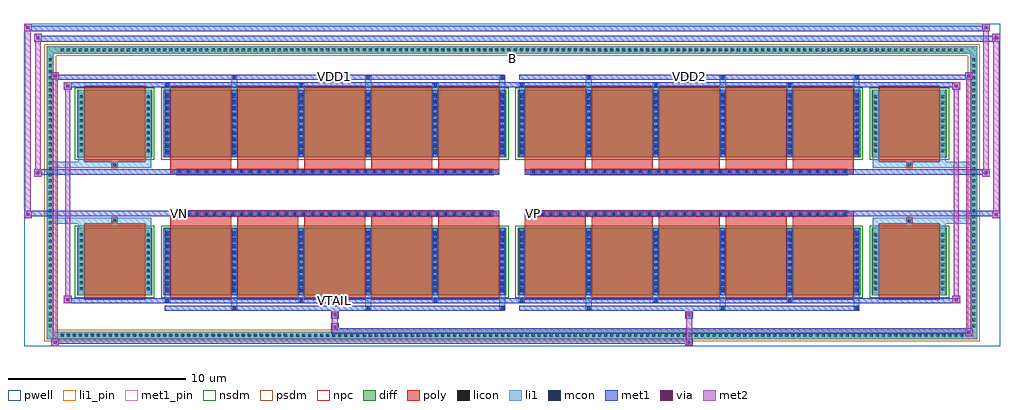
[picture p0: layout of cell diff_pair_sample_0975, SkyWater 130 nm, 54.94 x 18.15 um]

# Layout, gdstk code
import gdstk
lib = gdstk.Library(unit=1e-6, precision=5e-09)
def R(c, l, rs):  # rectangles x0, y0, x1, y1
    for r in rs: c.add(gdstk.rectangle(r[:2], r[2:], *l))
def A(c, l, x, y, w, h, nx, ny, dx, dy):  # array of equal rectangles
    R(c, l, [(x+i*dx, y+j*dy, x+i*dx+w, y+j*dy+h) for i in range(nx) for j in range(ny)])
def P(c, l, *ps):  # polygons
    for p in ps: c.add(gdstk.Polygon(p, *l))
pwell = (64, 44)
diff = (65, 20)
poly = (66, 20)
licon = (66, 44)
li1_pin = (67, 16)
li1 = (67, 20)
mcon = (67, 44)
met1_pin = (68, 16)
met1 = (68, 20)
via = (68, 44)
met2 = (69, 20)
nsdm = (93, 44)
psdm = (94, 20)
npc = (95, 20)

diff_pair_sample_0975 = lib.new_cell('diff_pair_sample_0975')
R(diff_pair_sample_0975, pwell, [(-27.47,-8.64,27.47,9.51), (-24.79,-6.83,-0.01,-0.805), (0.01,-6.83,24.79,-0.805), (-24.79,0.805,-0.01,6.83), (0.01,0.805,24.79,6.83)])
A(diff_pair_sample_0975, diff, -25.535, -8.24, 0.41, 0.41, 150, 2, 0.34, 16.07)
A(diff_pair_sample_0975, diff, -26.2, -7.685, 0.41, 0.41, 1, 45, 0, 0.34)
A(diff_pair_sample_0975, diff, 25.79, -7.685, 0.41, 0.41, 1, 45, 0, 0.34)
R(diff_pair_sample_0975, diff, [(-25.535,-8.24,25.535,-7.83), (-26.2,-7.685,-25.79,7.685), (25.79,-7.685,26.2,7.685), (-24.48,-5.785,-20.26,-1.985), (-19.62,-5.785,-0.32,-1.985), (0.32,-5.785,19.62,-1.985), (20.26,-5.785,24.48,-1.985), (-24.48,1.985,-20.26,5.785), (-19.62,1.985,-0.32,5.785), (0.32,1.985,19.62,5.785), (20.26,1.985,24.48,5.785), (-25.535,7.83,25.535,8.24)])
P(diff_pair_sample_0975, diff, [(26.2,8.24),(-26.2,8.24),(-26.2,-7.83),(-25.79,-7.83),(-25.79,7.83),(25.79,7.83),(25.79,-7.83),(-25.79,-7.83),(-26.2,-7.83),(-26.2,-8.24),(26.2,-8.24)])
A(diff_pair_sample_0975, poly, -19.23, -6.035, 3.44, 4.3, 5, 2, 3.77, 7.77)
A(diff_pair_sample_0975, poly, 0.71, -6.035, 3.44, 4.3, 5, 2, 3.77, 7.77)
A(diff_pair_sample_0975, poly, -19.23, -1.735, 3.44, 0.4, 5, 2, 3.77, 3.07)
A(diff_pair_sample_0975, poly, 0.71, -1.735, 3.44, 0.4, 5, 2, 3.77, 3.07)
A(diff_pair_sample_0975, poly, -18.885, -1.335, 0.33, 0.33, 36, 2, 0.5, 2.34)
A(diff_pair_sample_0975, poly, 1.055, -1.335, 0.33, 0.33, 36, 2, 0.5, 2.34)
R(diff_pair_sample_0975, poly, [(-24.09,-6.035,-20.65,-1.735), (20.65,-6.035,24.09,-1.735), (-22.535,-1.735,-22.205,-1.405), (-22.535,-1.735,-22.205,-1.405), (22.205,-1.735,22.535,-1.405), (22.205,-1.735,22.535,-1.405), (-19.23,-1.335,-0.71,-1.005), (0.71,-1.335,19.23,-1.005), (-19.23,1.005,-0.71,1.335), (0.71,1.005,19.23,1.335), (-22.535,1.405,-22.205,1.735), (-22.535,1.405,-22.205,1.735), (22.205,1.405,22.535,1.735), (22.205,1.405,22.535,1.735), (-24.09,1.735,-20.65,6.035), (20.65,1.735,24.09,6.035)])
A(diff_pair_sample_0975, licon, -25.415, -8.12, 0.17, 0.17, 150, 2, 0.34, 16.07)
A(diff_pair_sample_0975, licon, -26.08, -7.565, 0.17, 0.17, 1, 45, 0, 0.34)
A(diff_pair_sample_0975, licon, 25.91, -7.565, 0.17, 0.17, 1, 45, 0, 0.34)
A(diff_pair_sample_0975, licon, -24.34, -5.5, 0.17, 0.17, 1, 10, 0, 0.34)
A(diff_pair_sample_0975, licon, -20.57, -5.5, 0.17, 0.17, 1, 10, 0, 0.34)
A(diff_pair_sample_0975, licon, -19.48, -5.5, 0.17, 0.17, 6, 10, 3.77, 0.34)
A(diff_pair_sample_0975, licon, 0.46, -5.5, 0.17, 0.17, 6, 10, 3.77, 0.34)
A(diff_pair_sample_0975, licon, 20.4, -5.5, 0.17, 0.17, 1, 10, 0, 0.34)
A(diff_pair_sample_0975, licon, 24.17, -5.5, 0.17, 0.17, 1, 10, 0, 0.34)
A(diff_pair_sample_0975, licon, -18.805, -1.255, 0.17, 0.17, 36, 2, 0.5, 2.34)
A(diff_pair_sample_0975, licon, 1.135, -1.255, 0.17, 0.17, 36, 2, 0.5, 2.34)
A(diff_pair_sample_0975, licon, -24.34, 2.27, 0.17, 0.17, 1, 10, 0, 0.34)
A(diff_pair_sample_0975, licon, -20.57, 2.27, 0.17, 0.17, 1, 10, 0, 0.34)
A(diff_pair_sample_0975, licon, -19.48, 2.27, 0.17, 0.17, 6, 10, 3.77, 0.34)
A(diff_pair_sample_0975, licon, 0.46, 2.27, 0.17, 0.17, 6, 10, 3.77, 0.34)
A(diff_pair_sample_0975, licon, 20.4, 2.27, 0.17, 0.17, 1, 10, 0, 0.34)
A(diff_pair_sample_0975, licon, 24.17, 2.27, 0.17, 0.17, 1, 10, 0, 0.34)
R(diff_pair_sample_0975, licon, [(-22.455,-1.655,-22.285,-1.485), (22.285,-1.655,22.455,-1.485), (-22.455,1.485,-22.285,1.655), (22.285,1.485,22.455,1.655)])
R(diff_pair_sample_0975, li1_pin, [(-0.25,7.33,0.25,7.83)])
A(diff_pair_sample_0975, li1, -25.495, -8.2, 0.33, 0.33, 150, 2, 0.34, 16.07)
A(diff_pair_sample_0975, li1, -26.16, -7.645, 0.33, 0.33, 1, 45, 0, 0.34)
A(diff_pair_sample_0975, li1, 25.83, -7.645, 0.33, 0.33, 1, 45, 0, 0.34)
A(diff_pair_sample_0975, li1, -15.79, -6.59, 0.33, 0.805, 3, 2, 7.54, 12.375)
A(diff_pair_sample_0975, li1, -15.71, -6.59, 0.17, 0.17, 3, 2, 7.54, 13.01)
A(diff_pair_sample_0975, li1, 4.15, -6.59, 0.33, 0.805, 3, 2, 7.54, 12.375)
A(diff_pair_sample_0975, li1, 4.23, -6.59, 0.17, 0.17, 3, 2, 7.54, 13.01)
A(diff_pair_sample_0975, li1, -19.56, -6.16, 0.33, 0.375, 3, 2, 7.54, 11.945)
A(diff_pair_sample_0975, li1, -19.48, -6.16, 0.17, 0.17, 3, 2, 7.54, 12.15)
A(diff_pair_sample_0975, li1, 0.38, -6.16, 0.33, 0.375, 3, 2, 7.54, 11.945)
A(diff_pair_sample_0975, li1, 0.46, -6.16, 0.17, 0.17, 3, 2, 7.54, 12.15)
A(diff_pair_sample_0975, li1, -19.56, -5.785, 0.33, 3.8, 6, 2, 3.77, 7.77)
A(diff_pair_sample_0975, li1, 0.38, -5.785, 0.33, 3.8, 6, 2, 3.77, 7.77)
A(diff_pair_sample_0975, li1, -19.48, -5.59, 0.17, 0.17, 6, 10, 3.77, 0.36)
A(diff_pair_sample_0975, li1, -19.48, -5.59, 0.17, 3.41, 6, 2, 3.77, 7.77)
A(diff_pair_sample_0975, li1, 0.46, -5.59, 0.17, 0.17, 6, 10, 3.77, 0.36)
A(diff_pair_sample_0975, li1, 0.46, -5.59, 0.17, 3.41, 6, 2, 3.77, 7.77)
A(diff_pair_sample_0975, li1, -24.42, -5.58, 0.33, 0.33, 1, 10, 0, 0.34)
A(diff_pair_sample_0975, li1, -20.65, -5.58, 0.33, 0.33, 1, 10, 0, 0.34)
A(diff_pair_sample_0975, li1, -19.56, -5.58, 0.33, 0.33, 6, 10, 3.77, 0.34)
A(diff_pair_sample_0975, li1, 0.38, -5.58, 0.33, 0.33, 6, 10, 3.77, 0.34)
A(diff_pair_sample_0975, li1, 20.32, -5.58, 0.33, 0.33, 1, 10, 0, 0.34)
A(diff_pair_sample_0975, li1, 24.09, -5.58, 0.33, 0.33, 1, 10, 0, 0.34)
A(diff_pair_sample_0975, li1, -18.885, -1.335, 0.33, 0.33, 36, 2, 0.5, 2.34)
A(diff_pair_sample_0975, li1, 1.055, -1.335, 0.33, 0.33, 36, 2, 0.5, 2.34)
A(diff_pair_sample_0975, li1, -19.48, 2.18, 0.17, 0.17, 6, 10, 3.77, 0.36)
A(diff_pair_sample_0975, li1, 0.46, 2.18, 0.17, 0.17, 6, 10, 3.77, 0.36)
A(diff_pair_sample_0975, li1, -24.42, 2.19, 0.33, 0.33, 1, 10, 0, 0.34)
A(diff_pair_sample_0975, li1, -20.65, 2.19, 0.33, 0.33, 1, 10, 0, 0.34)
A(diff_pair_sample_0975, li1, -19.56, 2.19, 0.33, 0.33, 6, 10, 3.77, 0.34)
A(diff_pair_sample_0975, li1, 0.38, 2.19, 0.33, 0.33, 6, 10, 3.77, 0.34)
A(diff_pair_sample_0975, li1, 20.32, 2.19, 0.33, 0.33, 1, 10, 0, 0.34)
A(diff_pair_sample_0975, li1, 24.09, 2.19, 0.33, 0.33, 1, 10, 0, 0.34)
R(diff_pair_sample_0975, li1, [(-26.2,-8.24,-25.79,-7.83), (-26.2,-8.24,-25.79,-7.83), (-25.79,-8.24,25.79,-7.83), (25.79,-8.24,26.2,-7.83), (25.79,-8.24,26.2,-7.83), (-26.2,-7.83,-25.79,7.83), (25.79,-7.83,26.2,7.83), (-24.42,-5.785,-24.09,-1.985), (-20.65,-5.785,-20.32,-1.985), (20.32,-5.785,20.65,-1.985), (24.09,-5.785,24.42,-1.985), (-24.42,-1.985,-24.09,-1.405), (-20.65,-1.985,-20.32,-1.405), (20.32,-1.985,20.65,-1.405), (24.09,-1.985,24.42,-1.405), (-26.2,-1.735,-22.535,-1.405), (-24.42,-1.735,-22.535,-1.405), (-22.535,-1.735,-22.205,-1.405), (-22.205,-1.735,-20.32,-1.405), (20.32,-1.735,22.205,-1.405), (22.205,-1.735,22.535,-1.405), (22.205,-1.735,26.2,-1.405), (22.535,-1.735,24.42,-1.405), (-26.2,1.405,-22.535,1.735), (-24.42,1.405,-22.535,1.735), (-24.42,1.405,-24.09,1.985), (-22.535,1.405,-22.205,1.735), (-22.205,1.405,-20.32,1.735), (-20.65,1.405,-20.32,1.985), (20.32,1.405,22.205,1.735), (20.32,1.405,20.65,1.985), (22.205,1.405,22.535,1.735), (22.205,1.405,26.2,1.735), (22.535,1.405,24.42,1.735), (24.09,1.405,24.42,1.985), (-24.42,1.985,-24.09,5.785), (-20.65,1.985,-20.32,5.785), (20.32,1.985,20.65,5.785), (24.09,1.985,24.42,5.785), (-26.2,7.83,-25.79,8.24), (-26.2,7.83,-25.79,8.24), (-25.79,7.83,25.79,8.24), (25.79,7.83,26.2,8.24), (25.79,7.83,26.2,8.24)])
A(diff_pair_sample_0975, mcon, -15.71, -6.59, 0.17, 0.17, 3, 2, 7.54, 13.01)
A(diff_pair_sample_0975, mcon, 4.23, -6.59, 0.17, 0.17, 3, 2, 7.54, 13.01)
A(diff_pair_sample_0975, mcon, -19.48, -6.16, 0.17, 0.17, 3, 2, 7.54, 12.15)
A(diff_pair_sample_0975, mcon, 0.46, -6.16, 0.17, 0.17, 3, 2, 7.54, 12.15)
A(diff_pair_sample_0975, mcon, -19.48, -5.59, 0.17, 0.17, 6, 10, 3.77, 0.36)
A(diff_pair_sample_0975, mcon, 0.46, -5.59, 0.17, 0.17, 6, 10, 3.77, 0.36)
A(diff_pair_sample_0975, mcon, -18.805, -1.255, 0.17, 0.17, 36, 2, 0.5, 2.34)
A(diff_pair_sample_0975, mcon, 1.135, -1.255, 0.17, 0.17, 36, 2, 0.5, 2.34)
A(diff_pair_sample_0975, mcon, -19.48, 2.18, 0.17, 0.17, 6, 10, 3.77, 0.36)
A(diff_pair_sample_0975, mcon, 0.46, 2.18, 0.17, 0.17, 6, 10, 3.77, 0.36)
R(diff_pair_sample_0975, met1_pin, [(-10.105,-6.2,-9.835,-5.93), (-18.855,-1.295,-18.585,-1.025), (1.085,-1.295,1.355,-1.025), (-10.105,6.38,-9.835,6.65), (9.835,6.38,10.105,6.65)])
A(diff_pair_sample_0975, met1, -15.77, -6.65, 0.29, 0.29, 3, 2, 7.54, 13.01)
A(diff_pair_sample_0975, met1, 4.17, -6.65, 0.29, 0.29, 3, 2, 7.54, 13.01)
A(diff_pair_sample_0975, met1, -19.54, -6.22, 0.29, 0.29, 3, 2, 7.54, 12.15)
A(diff_pair_sample_0975, met1, 0.4, -6.22, 0.29, 0.29, 3, 2, 7.54, 12.15)
A(diff_pair_sample_0975, met1, -19.54, -5.785, 0.29, 3.8, 6, 2, 3.77, 7.77)
A(diff_pair_sample_0975, met1, 0.4, -5.785, 0.29, 3.8, 6, 2, 3.77, 7.77)
A(diff_pair_sample_0975, met1, -19.54, -5.65, 0.29, 0.29, 6, 10, 3.77, 0.36)
A(diff_pair_sample_0975, met1, 0.4, -5.65, 0.29, 0.29, 6, 10, 3.77, 0.36)
A(diff_pair_sample_0975, met1, -18.865, -1.315, 0.29, 0.29, 36, 2, 0.5, 2.34)
A(diff_pair_sample_0975, met1, 1.075, -1.315, 0.29, 0.29, 36, 2, 0.5, 2.34)
A(diff_pair_sample_0975, met1, -19.54, 2.12, 0.29, 0.29, 6, 10, 3.77, 0.36)
A(diff_pair_sample_0975, met1, 0.4, 2.12, 0.29, 0.29, 6, 10, 3.77, 0.36)
R(diff_pair_sample_0975, met1, [(-25.93,-8.64,-25.5,-8.21), (9.755,-8.64,10.185,-8.21), (-25.93,-8.5,10.185,-8.21), (25.5,-8.07,25.93,-7.64), (-10.185,-7.93,25.93,-7.64), (-10.185,-7.79,-9.755,-7.36), (-10.185,-7.08,-9.755,-6.65), (9.755,-7.08,10.185,-6.65), (-19.54,-6.65,-0.4,-6.36), (0.4,-6.65,19.54,-6.36), (-25.22,-6.22,-24.79,-5.79), (-25.22,-6.22,-19.54,-5.93), (-19.54,-6.22,-0.4,-5.93), (-0.4,-6.22,0.4,-5.93), (0.4,-6.22,19.54,-5.93), (19.54,-6.22,25.22,-5.93), (24.79,-6.22,25.22,-5.79), (-27.47,-1.435,-27.04,-1.005), (27.04,-1.435,27.47,-1.005), (-27.47,-1.335,-0.71,-1.005), (-19.23,-1.335,-0.71,-1.005), (0.71,-1.335,19.23,-1.005), (0.71,-1.335,27.47,-1.005), (-26.9,0.905,-26.47,1.335), (26.47,0.905,26.9,1.335), (-26.9,1.005,-19.23,1.335), (-19.23,1.005,-0.71,1.335), (0.71,1.005,19.23,1.335), (19.23,1.005,26.9,1.335), (-25.22,5.79,-24.79,6.22), (24.79,5.79,25.22,6.22), (-25.22,5.93,-19.54,6.22), (-19.54,5.93,-0.4,6.22), (-0.4,5.93,0.4,6.22), (0.4,5.93,19.54,6.22), (19.54,5.93,25.22,6.22), (-25.93,6.36,-25.5,6.79), (-25.93,6.36,-19.54,6.65), (-19.54,6.36,-0.4,6.65), (0.4,6.36,19.54,6.65), (19.54,6.36,25.93,6.65), (25.5,6.36,25.93,6.79), (-26.9,8.51,-26.47,8.94), (-26.9,8.51,-24.79,8.84), (-24.79,8.51,24.79,8.84), (24.79,8.51,27.47,8.84), (27.04,8.51,27.47,8.94), (-27.47,9.08,-27.04,9.51), (-27.47,9.08,-24.79,9.41), (-24.79,9.08,24.79,9.41), (24.79,9.08,26.9,9.41), (26.47,9.08,26.9,9.51)])
R(diff_pair_sample_0975, via, [(-25.79,-8.5,-25.64,-8.35), (9.895,-8.5,10.045,-8.35), (25.64,-7.93,25.79,-7.78), (-10.045,-7.65,-9.895,-7.5), (-10.045,-6.94,-9.895,-6.79), (9.895,-6.94,10.045,-6.79), (-25.08,-6.08,-24.93,-5.93), (24.93,-6.08,25.08,-5.93), (-27.33,-1.295,-27.18,-1.145), (27.18,-1.295,27.33,-1.145), (-26.76,1.045,-26.61,1.195), (26.61,1.045,26.76,1.195), (-25.08,5.93,-24.93,6.08), (24.93,5.93,25.08,6.08), (-25.79,6.5,-25.64,6.65), (25.64,6.5,25.79,6.65), (-26.76,8.65,-26.61,8.8), (27.18,8.65,27.33,8.8), (-27.33,9.22,-27.18,9.37), (26.61,9.22,26.76,9.37)])
R(diff_pair_sample_0975, met2, [(-25.93,-8.64,-25.5,-8.21), (-25.86,-8.64,-25.57,6.79), (-25.57,-8.64,-25.5,-8.21), (-25.88,-8.59,-25.55,-8.26), (9.805,-8.59,10.135,-8.26), (9.805,-8.26,10.135,-7.03), (25.5,-8.07,25.93,-7.64), (25.57,-8.07,25.86,6.79), (25.86,-8.07,25.93,-7.64), (25.55,-8.02,25.88,-7.69), (-10.135,-7.74,-9.805,-7.41), (-10.135,-7.41,-9.805,-7.03), (-10.135,-7.03,-9.805,-6.7), (9.805,-7.03,10.135,-6.7), (-25.22,-6.22,-24.79,-5.79), (-25.15,-6.22,-24.86,6.22), (-24.86,-6.22,-24.79,-5.79), (24.79,-6.22,25.22,-5.79), (24.86,-6.22,25.15,6.22), (25.15,-6.22,25.22,-5.79), (-25.17,-6.17,-24.84,-5.84), (24.84,-6.17,25.17,-5.84), (-27.47,-1.435,-27.04,-1.005), (-27.42,-1.435,-27.09,9.51), (-27.09,-1.435,-27.04,-1.005), (27.04,-1.435,27.47,-1.005), (27.09,-1.435,27.42,8.94), (27.42,-1.435,27.47,-1.005), (-27.42,-1.385,-27.09,-1.055), (27.09,-1.385,27.42,-1.055), (-26.9,0.905,-26.47,1.335), (-26.85,0.905,-26.52,8.94), (-26.52,0.905,-26.47,1.335), (26.47,0.905,26.9,1.335), (26.52,0.905,26.85,9.51), (26.85,0.905,26.9,1.335), (-26.85,0.955,-26.52,1.285), (26.52,0.955,26.85,1.285), (-25.22,5.79,-24.79,6.22), (-24.86,5.79,-24.79,6.22), (24.79,5.79,25.22,6.22), (25.15,5.79,25.22,6.22), (-25.17,5.84,-24.84,6.17), (24.84,5.84,25.17,6.17), (-25.93,6.36,-25.5,6.79), (-25.57,6.36,-25.5,6.79), (25.5,6.36,25.93,6.79), (25.86,6.36,25.93,6.79), (-25.88,6.41,-25.55,6.74), (25.55,6.41,25.88,6.74), (-26.9,8.51,-26.47,8.94), (-26.52,8.51,-26.47,8.94), (27.04,8.51,27.47,8.94), (27.42,8.51,27.47,8.94), (-26.85,8.56,-26.52,8.89), (27.09,8.56,27.42,8.89), (-27.47,9.08,-27.04,9.51), (-27.09,9.08,-27.04,9.51), (26.47,9.08,26.9,9.51), (26.85,9.08,26.9,9.51), (-27.42,9.13,-27.09,9.46), (26.52,9.13,26.85,9.46)])
R(diff_pair_sample_0975, nsdm, [(-24.61,-5.915,-20.13,-1.855), (-19.75,-5.915,-0.19,-1.855), (0.19,-5.915,19.75,-1.855), (20.13,-5.915,24.61,-1.855), (-24.61,1.855,-20.13,5.915), (-19.75,1.855,-0.19,5.915), (0.19,1.855,19.75,5.915), (20.13,1.855,24.61,5.915)])
P(diff_pair_sample_0975, psdm, [(26.33,8.37),(-26.33,8.37),(-26.33,-7.7),(-25.66,-7.7),(-25.66,7.7),(25.66,7.7),(25.66,-7.7),(-25.66,-7.7),(-26.33,-7.7),(-26.33,-8.37),(26.33,-8.37)])
A(diff_pair_sample_0975, npc, -18.905, -1.355, 0.37, 0.37, 36, 2, 0.5, 2.34)
A(diff_pair_sample_0975, npc, 1.035, -1.355, 0.37, 0.37, 36, 2, 0.5, 2.34)
R(diff_pair_sample_0975, npc, [(-22.555,-1.755,-22.185,-1.385), (22.185,-1.755,22.555,-1.385), (-18.905,-1.355,-18.035,-0.985), (-18.905,-1.355,-18.035,-0.985), (-18.405,-1.355,-17.535,-0.985), (-18.405,-1.355,-17.535,-0.985), (-17.905,-1.355,-17.035,-0.985), (-17.905,-1.355,-17.035,-0.985), (-17.405,-1.355,-16.535,-0.985), (-17.405,-1.355,-16.535,-0.985), (-16.905,-1.355,-16.035,-0.985), (-16.905,-1.355,-16.035,-0.985), (-16.405,-1.355,-15.535,-0.985), (-16.405,-1.355,-15.535,-0.985), (-15.905,-1.355,-15.035,-0.985), (-15.905,-1.355,-15.035,-0.985), (-15.405,-1.355,-14.535,-0.985), (-15.405,-1.355,-14.535,-0.985), (-14.905,-1.355,-14.035,-0.985), (-14.905,-1.355,-14.035,-0.985), (-14.405,-1.355,-13.535,-0.985), (-14.405,-1.355,-13.535,-0.985), (-13.905,-1.355,-13.035,-0.985), (-13.905,-1.355,-13.035,-0.985), (-13.405,-1.355,-12.535,-0.985), (-13.405,-1.355,-12.535,-0.985), (-12.905,-1.355,-12.035,-0.985), (-12.905,-1.355,-12.035,-0.985), (-12.405,-1.355,-11.535,-0.985), (-12.405,-1.355,-11.535,-0.985), (-11.905,-1.355,-11.035,-0.985), (-11.905,-1.355,-11.035,-0.985), (-11.405,-1.355,-10.535,-0.985), (-11.405,-1.355,-10.535,-0.985), (-10.905,-1.355,-10.035,-0.985), (-10.905,-1.355,-10.035,-0.985), (-10.405,-1.355,-9.535,-0.985), (-10.405,-1.355,-9.535,-0.985), (-9.905,-1.355,-9.035,-0.985), (-9.905,-1.355,-9.035,-0.985), (-9.405,-1.355,-8.535,-0.985), (-9.405,-1.355,-8.535,-0.985), (-8.905,-1.355,-8.035,-0.985), (-8.905,-1.355,-8.035,-0.985), (-8.405,-1.355,-7.535,-0.985), (-8.405,-1.355,-7.535,-0.985), (-7.905,-1.355,-7.035,-0.985), (-7.905,-1.355,-7.035,-0.985), (-7.405,-1.355,-6.535,-0.985), (-7.405,-1.355,-6.535,-0.985), (-6.905,-1.355,-6.035,-0.985), (-6.905,-1.355,-6.035,-0.985), (-6.405,-1.355,-5.535,-0.985), (-6.405,-1.355,-5.535,-0.985), (-5.905,-1.355,-5.035,-0.985), (-5.905,-1.355,-5.035,-0.985), (-5.405,-1.355,-4.535,-0.985), (-5.405,-1.355,-4.535,-0.985), (-4.905,-1.355,-4.035,-0.985), (-4.905,-1.355,-4.035,-0.985), (-4.405,-1.355,-3.535,-0.985), (-4.405,-1.355,-3.535,-0.985), (-3.905,-1.355,-3.035,-0.985), (-3.905,-1.355,-3.035,-0.985), (-3.405,-1.355,-2.535,-0.985), (-3.405,-1.355,-2.535,-0.985), (-2.905,-1.355,-2.035,-0.985), (-2.905,-1.355,-2.035,-0.985), (-2.405,-1.355,-1.535,-0.985), (-2.405,-1.355,-1.535,-0.985), (-1.905,-1.355,-1.035,-0.985), (-1.905,-1.355,-1.035,-0.985), (1.035,-1.355,1.905,-0.985), (1.035,-1.355,1.905,-0.985), (1.535,-1.355,2.405,-0.985), (1.535,-1.355,2.405,-0.985), (2.035,-1.355,2.905,-0.985), (2.035,-1.355,2.905,-0.985), (2.535,-1.355,3.405,-0.985), (2.535,-1.355,3.405,-0.985), (3.035,-1.355,3.905,-0.985), (3.035,-1.355,3.905,-0.985), (3.535,-1.355,4.405,-0.985), (3.535,-1.355,4.405,-0.985), (4.035,-1.355,4.905,-0.985), (4.035,-1.355,4.905,-0.985), (4.535,-1.355,5.405,-0.985), (4.535,-1.355,5.405,-0.985), (5.035,-1.355,5.905,-0.985), (5.035,-1.355,5.905,-0.985), (5.535,-1.355,6.405,-0.985), (5.535,-1.355,6.405,-0.985), (6.035,-1.355,6.905,-0.985), (6.035,-1.355,6.905,-0.985), (6.535,-1.355,7.405,-0.985), (6.535,-1.355,7.405,-0.985), (7.035,-1.355,7.905,-0.985), (7.035,-1.355,7.905,-0.985), (7.535,-1.355,8.405,-0.985), (7.535,-1.355,8.405,-0.985), (8.035,-1.355,8.905,-0.985), (8.035,-1.355,8.905,-0.985), (8.535,-1.355,9.405,-0.985), (8.535,-1.355,9.405,-0.985), (9.035,-1.355,9.905,-0.985), (9.035,-1.355,9.905,-0.985), (9.535,-1.355,10.405,-0.985), (9.535,-1.355,10.405,-0.985), (10.035,-1.355,10.905,-0.985), (10.035,-1.355,10.905,-0.985), (10.535,-1.355,11.405,-0.985), (10.535,-1.355,11.405,-0.985), (11.035,-1.355,11.905,-0.985), (11.035,-1.355,11.905,-0.985), (11.535,-1.355,12.405,-0.985), (11.535,-1.355,12.405,-0.985), (12.035,-1.355,12.905,-0.985), (12.035,-1.355,12.905,-0.985), (12.535,-1.355,13.405,-0.985), (12.535,-1.355,13.405,-0.985), (13.035,-1.355,13.905,-0.985), (13.035,-1.355,13.905,-0.985), (13.535,-1.355,14.405,-0.985), (13.535,-1.355,14.405,-0.985), (14.035,-1.355,14.905,-0.985), (14.035,-1.355,14.905,-0.985), (14.535,-1.355,15.405,-0.985), (14.535,-1.355,15.405,-0.985), (15.035,-1.355,15.905,-0.985), (15.035,-1.355,15.905,-0.985), (15.535,-1.355,16.405,-0.985), (15.535,-1.355,16.405,-0.985), (16.035,-1.355,16.905,-0.985), (16.035,-1.355,16.905,-0.985), (16.535,-1.355,17.405,-0.985), (16.535,-1.355,17.405,-0.985), (17.035,-1.355,17.905,-0.985), (17.035,-1.355,17.905,-0.985), (17.535,-1.355,18.405,-0.985), (17.535,-1.355,18.405,-0.985), (18.035,-1.355,18.905,-0.985), (18.035,-1.355,18.905,-0.985), (-18.905,0.985,-18.035,1.355), (-18.905,0.985,-18.035,1.355), (-18.405,0.985,-17.535,1.355), (-18.405,0.985,-17.535,1.355), (-17.905,0.985,-17.035,1.355), (-17.905,0.985,-17.035,1.355), (-17.405,0.985,-16.535,1.355), (-17.405,0.985,-16.535,1.355), (-16.905,0.985,-16.035,1.355), (-16.905,0.985,-16.035,1.355), (-16.405,0.985,-15.535,1.355), (-16.405,0.985,-15.535,1.355), (-15.905,0.985,-15.035,1.355), (-15.905,0.985,-15.035,1.355), (-15.405,0.985,-14.535,1.355), (-15.405,0.985,-14.535,1.355), (-14.905,0.985,-14.035,1.355), (-14.905,0.985,-14.035,1.355), (-14.405,0.985,-13.535,1.355), (-14.405,0.985,-13.535,1.355), (-13.905,0.985,-13.035,1.355), (-13.905,0.985,-13.035,1.355), (-13.405,0.985,-12.535,1.355), (-13.405,0.985,-12.535,1.355), (-12.905,0.985,-12.035,1.355), (-12.905,0.985,-12.035,1.355), (-12.405,0.985,-11.535,1.355), (-12.405,0.985,-11.535,1.355), (-11.905,0.985,-11.035,1.355), (-11.905,0.985,-11.035,1.355), (-11.405,0.985,-10.535,1.355), (-11.405,0.985,-10.535,1.355), (-10.905,0.985,-10.035,1.355), (-10.905,0.985,-10.035,1.355), (-10.405,0.985,-9.535,1.355), (-10.405,0.985,-9.535,1.355), (-9.905,0.985,-9.035,1.355), (-9.905,0.985,-9.035,1.355), (-9.405,0.985,-8.535,1.355), (-9.405,0.985,-8.535,1.355), (-8.905,0.985,-8.035,1.355), (-8.905,0.985,-8.035,1.355), (-8.405,0.985,-7.535,1.355), (-8.405,0.985,-7.535,1.355), (-7.905,0.985,-7.035,1.355), (-7.905,0.985,-7.035,1.355), (-7.405,0.985,-6.535,1.355), (-7.405,0.985,-6.535,1.355), (-6.905,0.985,-6.035,1.355), (-6.905,0.985,-6.035,1.355), (-6.405,0.985,-5.535,1.355), (-6.405,0.985,-5.535,1.355), (-5.905,0.985,-5.035,1.355), (-5.905,0.985,-5.035,1.355), (-5.405,0.985,-4.535,1.355), (-5.405,0.985,-4.535,1.355), (-4.905,0.985,-4.035,1.355), (-4.905,0.985,-4.035,1.355), (-4.405,0.985,-3.535,1.355), (-4.405,0.985,-3.535,1.355), (-3.905,0.985,-3.035,1.355), (-3.905,0.985,-3.035,1.355), (-3.405,0.985,-2.535,1.355), (-3.405,0.985,-2.535,1.355), (-2.905,0.985,-2.035,1.355), (-2.905,0.985,-2.035,1.355), (-2.405,0.985,-1.535,1.355), (-2.405,0.985,-1.535,1.355), (-1.905,0.985,-1.035,1.355), (-1.905,0.985,-1.035,1.355), (1.035,0.985,1.905,1.355), (1.035,0.985,1.905,1.355), (1.535,0.985,2.405,1.355), (1.535,0.985,2.405,1.355), (2.035,0.985,2.905,1.355), (2.035,0.985,2.905,1.355), (2.535,0.985,3.405,1.355), (2.535,0.985,3.405,1.355), (3.035,0.985,3.905,1.355), (3.035,0.985,3.905,1.355), (3.535,0.985,4.405,1.355), (3.535,0.985,4.405,1.355), (4.035,0.985,4.905,1.355), (4.035,0.985,4.905,1.355), (4.535,0.985,5.405,1.355), (4.535,0.985,5.405,1.355), (5.035,0.985,5.905,1.355), (5.035,0.985,5.905,1.355), (5.535,0.985,6.405,1.355), (5.535,0.985,6.405,1.355), (6.035,0.985,6.905,1.355), (6.035,0.985,6.905,1.355), (6.535,0.985,7.405,1.355), (6.535,0.985,7.405,1.355), (7.035,0.985,7.905,1.355), (7.035,0.985,7.905,1.355), (7.535,0.985,8.405,1.355), (7.535,0.985,8.405,1.355), (8.035,0.985,8.905,1.355), (8.035,0.985,8.905,1.355), (8.535,0.985,9.405,1.355), (8.535,0.985,9.405,1.355), (9.035,0.985,9.905,1.355), (9.035,0.985,9.905,1.355), (9.535,0.985,10.405,1.355), (9.535,0.985,10.405,1.355), (10.035,0.985,10.905,1.355), (10.035,0.985,10.905,1.355), (10.535,0.985,11.405,1.355), (10.535,0.985,11.405,1.355), (11.035,0.985,11.905,1.355), (11.035,0.985,11.905,1.355), (11.535,0.985,12.405,1.355), (11.535,0.985,12.405,1.355), (12.035,0.985,12.905,1.355), (12.035,0.985,12.905,1.355), (12.535,0.985,13.405,1.355), (12.535,0.985,13.405,1.355), (13.035,0.985,13.905,1.355), (13.035,0.985,13.905,1.355), (13.535,0.985,14.405,1.355), (13.535,0.985,14.405,1.355), (14.035,0.985,14.905,1.355), (14.035,0.985,14.905,1.355), (14.535,0.985,15.405,1.355), (14.535,0.985,15.405,1.355), (15.035,0.985,15.905,1.355), (15.035,0.985,15.905,1.355), (15.535,0.985,16.405,1.355), (15.535,0.985,16.405,1.355), (16.035,0.985,16.905,1.355), (16.035,0.985,16.905,1.355), (16.535,0.985,17.405,1.355), (16.535,0.985,17.405,1.355), (17.035,0.985,17.905,1.355), (17.035,0.985,17.905,1.355), (17.535,0.985,18.405,1.355), (17.535,0.985,18.405,1.355), (18.035,0.985,18.905,1.355), (18.035,0.985,18.905,1.355), (-22.555,1.385,-22.185,1.755), (22.185,1.385,22.555,1.755)])
diff_pair_sample_0975.add(gdstk.Label('VTAIL', (-9.97,-6.065), layer=68, texttype=5))
diff_pair_sample_0975.add(gdstk.Label('VN', (-18.72,-1.16), layer=68, texttype=5))
diff_pair_sample_0975.add(gdstk.Label('VP', (1.22,-1.16), layer=68, texttype=5))
diff_pair_sample_0975.add(gdstk.Label('B', (0,7.58), layer=67, texttype=5))
diff_pair_sample_0975.add(gdstk.Label('VDD2', (9.97,6.515), layer=68, texttype=5))
diff_pair_sample_0975.add(gdstk.Label('VDD1', (-9.97,6.515), layer=68, texttype=5))

lib.write_gds('diff_pair_sample_0975.gds')
